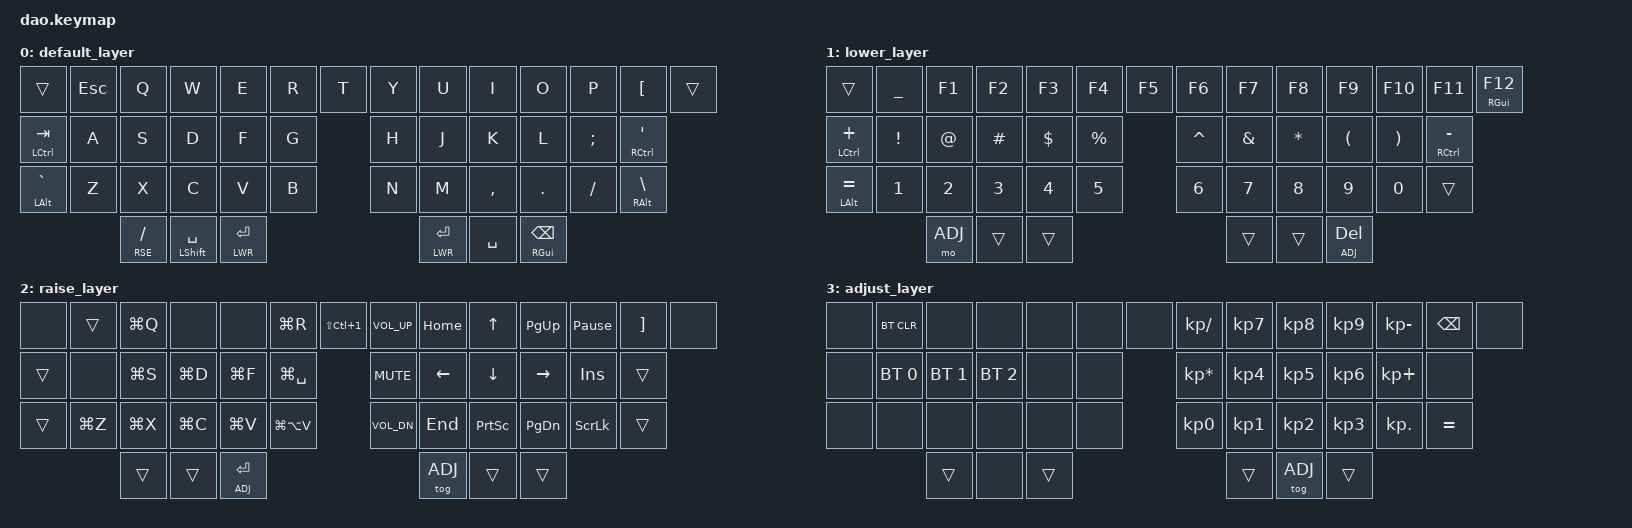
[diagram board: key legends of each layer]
/*
 * Copyright (c) 2021 Rafael Yumagulov
 *
 * SPDX-License-Identifier: MIT
 */

#include <behaviors.dtsi>
#include <dt-bindings/zmk/keys.h>
#include <dt-bindings/zmk/bt.h>

#define DEF 0
#define LWR 1
#define RSE 2
#define ADJ 3

&lt { quick_tap_ms = <350>; };
&mt { quick_tap_ms = <250>; };

/ {
        keymap {
                compatible = "zmk,keymap";

                default_layer {
// .--------------------------------------------------------------.       .-----------------------------------------------------------.
// |   ESC        |    Q    |    W   |   E    |    R    |    T    |       |   Y   |    U    |    I    |    O    |     P    |    [{    |
// |--------------+---------+--------+--------+---------+---------|       |-------+---------+---------+---------+----------+----------|
// |   CTRL/Tab   |    A    |    S   |   D    |    F    |    G    |       |   H   |    J    |    K    |    L    |    ;:    |    ' "   |
// |--------------+---------+--------+--------+---------+---------|       |-------+---------+---------+---------+----------+----------|
// |   ALT  `~    |    Z    |    X   |   C    |    V    |    B    |       |   N   |    M    |   ,<    |   .>    |    /?    |  \| ALT  |
// '---------------------------------+--------+---------+---------+       |-------+---------+---------+-------------------------------'
//                                   |  #R /  | SHIFT _ |  #L ENT |       | #L ENT| SPACE   |GUI BKSP |
//                                   '--------+---------+---------'       '-------+---------+---------'
                        bindings = <
&trans    &kp ESC    &kp Q    &kp W    &kp E    &kp R     &kp T             &kp Y    &kp U     &kp I     &kp O      &kp P    &kp LBKT   &trans
     &mt LCTRL TAB   &kp A    &kp S    &kp D    &kp F     &kp G             &kp H    &kp J     &kp K     &kp L      &kp SEMI &mt RCTRL SQT
    &mt LALT GRAVE   &kp Z    &kp X    &kp C    &kp V     &kp B             &kp N    &kp M     &kp COMMA &kp DOT    &kp FSLH &mt RALT BSLH
                     &lt RSE FSLH   &mt LSHIFT SPACE    &lt LWR RET      &lt LWR RET    &kp SPACE    &mt RGUI BSPC
                        >;
                };
                
                
                lower_layer {
// .----------------------------------------------------------------.       .----------------------------------------------------------------. 
// |    _    |    F1    |    F2    |    F3    |    F4    |    F5    |       |    F6   |    F7    |    F8    |    F9    |   F10    |   F11    |
// |---------+----------+----------+----------+----------+----------|       |---------+----------+----------+----------+----------+----------|
// |    +    |    !     |    @     |    #     |    $     |    %     |       |    ^    |    &     |    *     |    (     |    )     |    -_    |
// |---------+----------+----------+----------+----------+----------|       |---------+----------+----------+----------+----------+----------| 
// |    =+   |    1     |    2     |    3     |    4     |    5     |       |    6    |    7     |    8     |    9     |    0     |          |
// '----------------------------------------------------------------+       |----------------------------------------------------------------'
//                          |    #A      |            |             |       |            |            |  #A DEL   |
//                          '------------+------------+-------------'       '------------+------------+-----------'
                        bindings = <
   &trans &kp UNDER      &kp F1   &kp F2 &kp F3   &kp F4   &kp F5           &kp F6    &kp F7   &kp F8   &kp F9   &kp F10  &kp F11 &mt RGUI F12
          &mt LCTRL PLUS &kp EXCL &kp AT &kp HASH &kp DLLR &kp PRCNT        &kp CARET &kp AMPS &kp STAR &kp LPAR &kp RPAR &mt RCTRL MINUS
          &mt LALT EQUAL &kp N1   &kp N2 &kp N3   &kp N4   &kp N5           &kp N6    &kp N7   &kp N8   &kp N9   &kp N0   &trans
                              &mo ADJ      &trans      &trans               &trans          &trans    &lt ADJ DEL
                        >;
                };

                raise_layer {

// .--------------------------------------------------------------.       .----------------------------------------------------------------.
// |              |   ⌘Q    |        |        |   ⌘R    |   ⌃⇧1   |       |  VOL+  |   HOME   |    UP    |   PGUP   |   PAUS    |    ]}    |
// |--------------+---------+--------+--------+---------+---------|       |--------+----------+----------+----------+-----------+----------|
// |              |         |   ⌘S   |   ⌘D   |   ⌘F    |   ⌘_    |       |  MUT   |   LEFT   |   DOWN   |   RGHT   |   INS     |          |
// |--------------+---------+--------+--------+---------+---------|       |--------+----------+----------+----------+-----------+----------|
// |              |   ⌘Z    |   ⌘X   |   ⌘C   |   ⌘V    |   ⌘⌥V   |       |  VOL-  |   END    |   PRSC   |   PGDN   |   SCLK    |          |
// '------------------------+-------------------------------------+       |----------------------------------------------------------------'
//                          |            |            |  #A RET   |       |  LOCK #A   |            |           |
//                          '------------+------------+-----------'       '------------+------------+-----------'
                        bindings = <
&none   &trans    &kp LG(Q) &none     &none     &kp LG(R) &kp LS(LC(N1))         &kp C_VOL_UP &kp HOME  &kp UP     &kp PG_UP &kp PAUSE_BREAK &kp RBKT &none
        &trans    &none     &kp LG(S) &kp LG(D) &kp LG(F) &kp LG(SPACE)    &kp C_MUTE   &kp LEFT  &kp DOWN   &kp RIGHT &kp INS         &trans
        &trans    &kp LG(Z) &kp LG(X) &kp LG(C) &kp LG(V) &kp LG(LA(V))    &kp C_VOL_DN &kp END   &kp PSCRN  &kp PG_DN &kp SLCK        &trans
                              &trans      &trans       &lt ADJ RET         &tog ADJ      &trans   &trans
                        >;
                };
                adjust_layer {
// .--------------------------------------------------------------.       .-----------------------------------------------------------.
// |   BTCLR      |         |        |        |         |         |       |   /   |    7    |    8    |    9    |    -     |   BKSP   |
// |--------------+---------+--------+--------+---------+---------|       |-------+---------+---------+---------+----------+----------|
// |              |   BT0   |   BT1  |  BT2   |         |         |       |   *   |    4    |    5    |    6    |    +     |          |
// |--------------+---------+--------+--------+---------+---------|       |-------+---------+---------+---------+----------+----------|
// |              |         |        |        |         |         |       |   0   |    1    |    2    |    3    |    .     |    =     |
// '------------------------+-------------------------------------+       |-----------------------------------------------------------'
//                          |            |            |  #A RET   |       |  #A RET    |  UNLCK #A  |           |
//                          '------------+------------+-----------'       '------------+------------+-----------'
                        bindings = <
&none &bt BT_CLR    &none      &none    &none     &none       &none       &kp KP_SLASH    &kp KP_N7 &kp KP_N8 &kp KP_N9 &kp KP_MINUS &kp BSPC  &none 
      &none      &bt BT_SEL 0 &bt BT_SEL 1 &bt BT_SEL 2 &none &none       &kp KP_MULTIPLY &kp KP_N4 &kp KP_N5 &kp KP_N6 &kp KP_PLUS  &none
      &none         &none       &none   &none     &none       &none       &kp KP_N0       &kp KP_N1 &kp KP_N2 &kp KP_N3 &kp KP_DOT   &kp EQUAL
                                &trans         &none         &trans       &trans          &tog ADJ     &trans
                        >;
                };
        };
};
